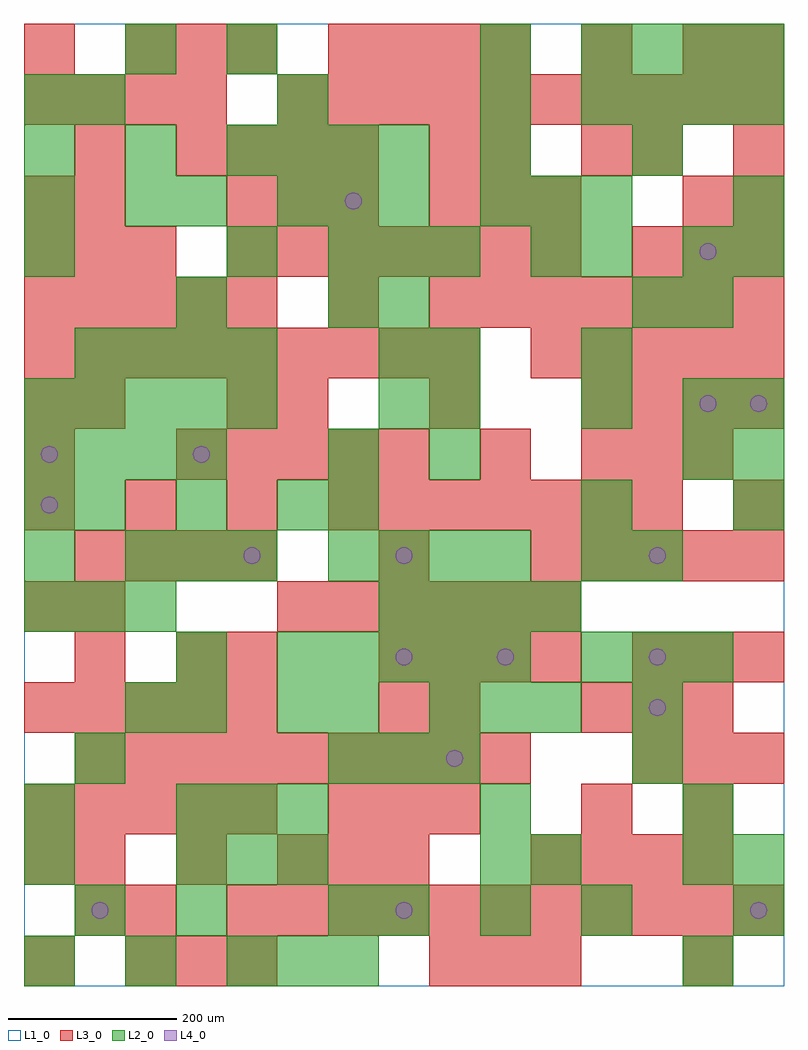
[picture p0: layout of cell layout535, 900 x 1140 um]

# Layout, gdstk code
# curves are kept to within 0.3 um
import gdstk
lib = gdstk.Library(unit=1e-6, precision=1e-09)
def R(c, l, rs):  # rectangles x0, y0, x1, y1
    for r in rs: c.add(gdstk.rectangle(r[:2], r[2:], *l))
def A(c, l, x, y, w, h, nx, ny, dx, dy):  # array of equal rectangles
    R(c, l, [(x+i*dx, y+j*dy, x+i*dx+w, y+j*dy+h) for i in range(nx) for j in range(ny)])
def P(c, l, *ps):  # polygons
    for p in ps: c.add(gdstk.Polygon(p, *l))
L1_0 = (1, 0)
L2_0 = (2, 0)
L3_0 = (3, 0)
L4_0 = (4, 0)

layout535 = lib.new_cell('layout535')
R(layout535, L1_0, [(0,0,900,1140)])
A(layout535, L2_0, 0, 0, 60, 60, 3, 2, 120, 960)
A(layout535, L2_0, 360, 60, 60, 60, 1, 3, 0, 240)
A(layout535, L2_0, 420, 60, 60, 60, 3, 1, 120, 0)
A(layout535, L2_0, 180, 120, 60, 60, 3, 2, 60, 60)
A(layout535, L2_0, 360, 240, 60, 60, 3, 2, 60, 600)
A(layout535, L2_0, 480, 300, 60, 60, 3, 1, 60, 0)
A(layout535, L2_0, 300, 360, 60, 60, 5, 1, 60, 0)
A(layout535, L2_0, 660, 360, 60, 60, 3, 1, 60, 0)
A(layout535, L2_0, 0, 420, 60, 60, 3, 1, 60, 0)
A(layout535, L2_0, 420, 420, 60, 60, 4, 1, 60, 0)
A(layout535, L2_0, 120, 480, 60, 60, 3, 1, 60, 0)
A(layout535, L2_0, 360, 480, 60, 60, 4, 1, 60, 0)
A(layout535, L2_0, 60, 540, 60, 60, 3, 1, 120, 0)
A(layout535, L2_0, 840, 540, 60, 60, 1, 3, 0, 60)
A(layout535, L2_0, 0, 600, 60, 60, 4, 1, 60, 0)
A(layout535, L2_0, 480, 600, 60, 60, 1, 3, 0, 60)
A(layout535, L2_0, 0, 660, 60, 60, 5, 1, 60, 0)
A(layout535, L2_0, 420, 660, 60, 60, 1, 3, 0, 60)
A(layout535, L2_0, 60, 720, 60, 60, 4, 1, 60, 0)
A(layout535, L2_0, 300, 900, 60, 60, 3, 2, 60, 60)
A(layout535, L2_0, 540, 900, 60, 60, 3, 1, 60, 0)
A(layout535, L2_0, 60, 1020, 60, 60, 3, 1, 240, 0)
A(layout535, L2_0, 660, 1020, 60, 60, 4, 2, 60, 60)
R(layout535, L2_0, [(300,0,360,60), (360,0,420,60), (780,0,840,60), (60,60,120,120), (180,60,240,120), (840,60,900,120), (0,120,60,180), (540,120,600,180), (600,120,660,180), (780,120,840,180), (840,120,900,180), (0,180,60,240), (540,180,600,240), (780,180,840,240), (60,240,120,300), (720,240,780,300), (120,300,180,360), (180,300,240,360), (300,300,360,360), (720,300,780,360), (180,360,240,420), (0,480,60,540), (660,480,720,540), (720,480,780,540), (0,540,60,600), (660,540,720,600), (360,600,420,660), (780,600,840,660), (660,660,720,720), (780,660,840,720), (660,720,720,780), (180,780,240,840), (360,780,420,840), (720,780,780,840), (780,780,840,840), (0,840,60,900), (240,840,300,900), (600,840,660,900), (660,840,720,900), (780,840,840,900), (840,840,900,900), (0,900,60,960), (120,900,180,960), (180,900,240,960), (840,900,900,960), (540,960,600,1020), (720,960,780,1020), (0,1020,60,1080), (120,1080,180,1140), (240,1080,300,1140), (540,1080,600,1140)])
A(layout535, L3_0, 120, 0, 60, 60, 3, 2, 60, 1080)
A(layout535, L3_0, 480, 0, 60, 60, 3, 2, 60, 900)
A(layout535, L3_0, 240, 60, 60, 60, 11, 1, 60, 0)
A(layout535, L3_0, 60, 120, 60, 60, 3, 1, 120, 0)
A(layout535, L3_0, 420, 120, 60, 60, 1, 3, 0, 180)
A(layout535, L3_0, 600, 120, 60, 60, 4, 1, 60, 0)
A(layout535, L3_0, 0, 180, 60, 60, 5, 2, 60, 120)
A(layout535, L3_0, 360, 180, 60, 60, 3, 1, 60, 0)
A(layout535, L3_0, 60, 240, 60, 60, 9, 1, 60, 0)
A(layout535, L3_0, 720, 240, 60, 60, 3, 2, 60, 120)
A(layout535, L3_0, 660, 300, 60, 60, 3, 2, 60, 300)
A(layout535, L3_0, 420, 360, 60, 60, 4, 1, 60, 0)
A(layout535, L3_0, 60, 420, 60, 60, 1, 3, 0, 240)
A(layout535, L3_0, 300, 420, 60, 60, 6, 1, 60, 0)
A(layout535, L3_0, 60, 480, 60, 60, 4, 1, 60, 0)
A(layout535, L3_0, 600, 480, 60, 60, 5, 2, 60, 240)
A(layout535, L3_0, 0, 540, 60, 60, 4, 1, 120, 0)
A(layout535, L3_0, 420, 540, 60, 60, 6, 1, 60, 0)
A(layout535, L3_0, 180, 600, 60, 60, 5, 1, 60, 0)
A(layout535, L3_0, 300, 660, 60, 60, 3, 1, 180, 0)
A(layout535, L3_0, 720, 660, 60, 60, 3, 2, 60, 180)
A(layout535, L3_0, 0, 720, 60, 60, 9, 1, 60, 0)
A(layout535, L3_0, 0, 780, 60, 60, 5, 1, 60, 0)
A(layout535, L3_0, 480, 780, 60, 60, 7, 1, 60, 0)
A(layout535, L3_0, 0, 840, 60, 60, 3, 1, 60, 0)
A(layout535, L3_0, 240, 840, 60, 60, 7, 1, 60, 0)
A(layout535, L3_0, 240, 900, 60, 60, 3, 1, 60, 0)
A(layout535, L3_0, 180, 960, 60, 60, 4, 1, 60, 0)
A(layout535, L3_0, 0, 1020, 60, 60, 4, 1, 60, 0)
A(layout535, L3_0, 300, 1020, 60, 60, 10, 1, 60, 0)
A(layout535, L3_0, 360, 1080, 60, 60, 4, 1, 60, 0)
R(layout535, L3_0, [(0,0,60,60), (780,0,840,60), (60,60,120,120), (120,60,180,120), (0,120,60,180), (360,120,420,180), (660,180,720,240), (780,180,840,240), (480,300,540,360), (60,360,120,420), (180,360,240,420), (240,360,300,420), (0,420,60,480), (840,540,900,600), (0,600,60,660), (540,600,600,660), (0,660,60,720), (240,660,300,720), (360,780,420,840), (0,900,60,960), (780,900,840,960), (840,900,900,960), (60,960,120,1020), (480,960,540,1020), (540,960,600,1020), (660,960,720,1020), (720,960,780,1020), (840,960,900,1020), (0,1080,60,1140), (660,1080,720,1140), (780,1080,840,1140), (840,1080,900,1140)])
P(layout535, L4_0, [(40,570),(39.239,573.827),(37.071,577.071),(33.827,579.239),(30,580),(26.173,579.239),(22.929,577.071),(20.761,573.827),(20,570),(20.761,566.173),(22.929,562.929),(26.173,560.761),(30,560),(33.827,560.761),(37.071,562.929),(39.239,566.173)],
  [(40,630),(39.239,633.827),(37.071,637.071),(33.827,639.239),(30,640),(26.173,639.239),(22.929,637.071),(20.761,633.827),(20,630),(20.761,626.173),(22.929,622.929),(26.173,620.761),(30,620),(33.827,620.761),(37.071,622.929),(39.239,626.173)],
  [(100,90),(99.239,93.827),(97.071,97.071),(93.827,99.239),(90,100),(86.173,99.239),(82.929,97.071),(80.761,93.827),(80,90),(80.761,86.173),(82.929,82.929),(86.173,80.761),(90,80),(93.827,80.761),(97.071,82.929),(99.239,86.173)],
  [(220,630),(219.239,633.827),(217.071,637.071),(213.827,639.239),(210,640),(206.173,639.239),(202.929,637.071),(200.761,633.827),(200,630),(200.761,626.173),(202.929,622.929),(206.173,620.761),(210,620),(213.827,620.761),(217.071,622.929),(219.239,626.173)],
  [(280,510),(279.239,513.827),(277.071,517.071),(273.827,519.239),(270,520),(266.173,519.239),(262.929,517.071),(260.761,513.827),(260,510),(260.761,506.173),(262.929,502.929),(266.173,500.761),(270,500),(273.827,500.761),(277.071,502.929),(279.239,506.173)],
  [(400,930),(399.239,933.827),(397.071,937.071),(393.827,939.239),(390,940),(386.173,939.239),(382.929,937.071),(380.761,933.827),(380,930),(380.761,926.173),(382.929,922.929),(386.173,920.761),(390,920),(393.827,920.761),(397.071,922.929),(399.239,926.173)],
  [(460,90),(459.239,93.827),(457.071,97.071),(453.827,99.239),(450,100),(446.173,99.239),(442.929,97.071),(440.761,93.827),(440,90),(440.761,86.173),(442.929,82.929),(446.173,80.761),(450,80),(453.827,80.761),(457.071,82.929),(459.239,86.173)],
  [(460,390),(459.239,393.827),(457.071,397.071),(453.827,399.239),(450,400),(446.173,399.239),(442.929,397.071),(440.761,393.827),(440,390),(440.761,386.173),(442.929,382.929),(446.173,380.761),(450,380),(453.827,380.761),(457.071,382.929),(459.239,386.173)],
  [(460,510),(459.239,513.827),(457.071,517.071),(453.827,519.239),(450,520),(446.173,519.239),(442.929,517.071),(440.761,513.827),(440,510),(440.761,506.173),(442.929,502.929),(446.173,500.761),(450,500),(453.827,500.761),(457.071,502.929),(459.239,506.173)],
  [(520,270),(519.239,273.827),(517.071,277.071),(513.827,279.239),(510,280),(506.173,279.239),(502.929,277.071),(500.761,273.827),(500,270),(500.761,266.173),(502.929,262.929),(506.173,260.761),(510,260),(513.827,260.761),(517.071,262.929),(519.239,266.173)],
  [(580,390),(579.239,393.827),(577.071,397.071),(573.827,399.239),(570,400),(566.173,399.239),(562.929,397.071),(560.761,393.827),(560,390),(560.761,386.173),(562.929,382.929),(566.173,380.761),(570,380),(573.827,380.761),(577.071,382.929),(579.239,386.173)],
  [(760,330),(759.239,333.827),(757.071,337.071),(753.827,339.239),(750,340),(746.173,339.239),(742.929,337.071),(740.761,333.827),(740,330),(740.761,326.173),(742.929,322.929),(746.173,320.761),(750,320),(753.827,320.761),(757.071,322.929),(759.239,326.173)],
  [(760,390),(759.239,393.827),(757.071,397.071),(753.827,399.239),(750,400),(746.173,399.239),(742.929,397.071),(740.761,393.827),(740,390),(740.761,386.173),(742.929,382.929),(746.173,380.761),(750,380),(753.827,380.761),(757.071,382.929),(759.239,386.173)],
  [(760,510),(759.239,513.827),(757.071,517.071),(753.827,519.239),(750,520),(746.173,519.239),(742.929,517.071),(740.761,513.827),(740,510),(740.761,506.173),(742.929,502.929),(746.173,500.761),(750,500),(753.827,500.761),(757.071,502.929),(759.239,506.173)],
  [(820,690),(819.239,693.827),(817.071,697.071),(813.827,699.239),(810,700),(806.173,699.239),(802.929,697.071),(800.761,693.827),(800,690),(800.761,686.173),(802.929,682.929),(806.173,680.761),(810,680),(813.827,680.761),(817.071,682.929),(819.239,686.173)],
  [(820,870),(819.239,873.827),(817.071,877.071),(813.827,879.239),(810,880),(806.173,879.239),(802.929,877.071),(800.761,873.827),(800,870),(800.761,866.173),(802.929,862.929),(806.173,860.761),(810,860),(813.827,860.761),(817.071,862.929),(819.239,866.173)],
  [(880,90),(879.239,93.827),(877.071,97.071),(873.827,99.239),(870,100),(866.173,99.239),(862.929,97.071),(860.761,93.827),(860,90),(860.761,86.173),(862.929,82.929),(866.173,80.761),(870,80),(873.827,80.761),(877.071,82.929),(879.239,86.173)],
  [(880,690),(879.239,693.827),(877.071,697.071),(873.827,699.239),(870,700),(866.173,699.239),(862.929,697.071),(860.761,693.827),(860,690),(860.761,686.173),(862.929,682.929),(866.173,680.761),(870,680),(873.827,680.761),(877.071,682.929),(879.239,686.173)])

lib.write_gds('layout535.gds')
